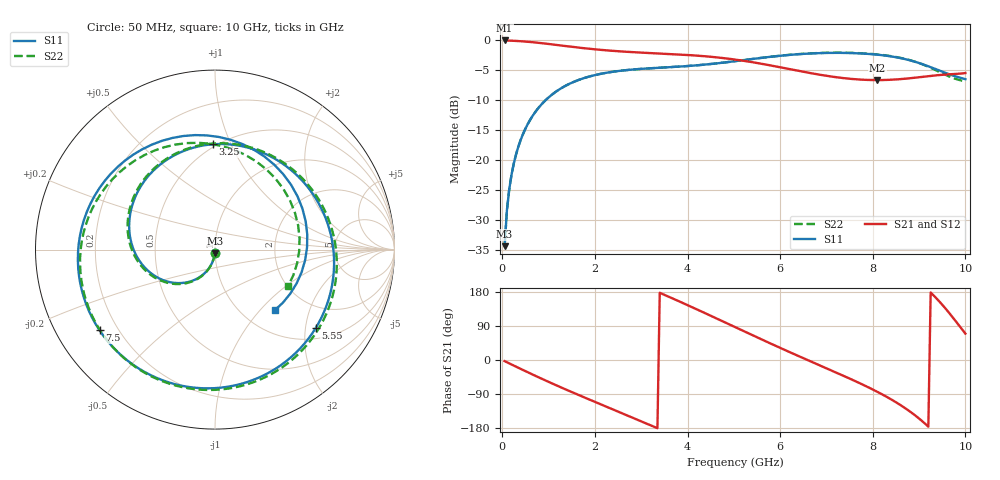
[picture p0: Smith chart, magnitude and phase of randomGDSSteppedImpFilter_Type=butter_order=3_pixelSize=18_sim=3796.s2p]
! freq	dB(S11)	phase(S11)	dB(S12)	phase(S12)
!  dB(S21)	phase(S21)	dB(S22)	phase(S22)
!S-par simulation data
#  GHz  S  DB  R 50
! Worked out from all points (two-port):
!   200 points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, 50 MHz to 10 GHz, reference 50 ohm
!   highest |S21| = 0.00 dB at 50 MHz (marker M1); lowest = -6.6 dB at 8.1 GHz (marker M2)
!   |S21| within 3 dB of the highest: start of sweep to 4.833 GHz
!   lowest |S11| = -34.4 dB at 50 MHz (marker M3), VSWR 1.04, Z = 49.9 - j1.9 ohm
!   |S11| at or under -10 dB: start of sweep to 933 MHz
!   |S22| runs from -34.4 to -2.0 dB; largest |S21 - S12| = 0
!   S11 on the Smith chart (normalised r, x): 50 MHz: 1.00, -0.04; 3.25 GHz: 0.48, +0.86; 5.55 GHz: 1.28, -2.27; 7.5 GHz: 0.13, -0.31; 10 GHz: 1.38, -1.21
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0.05  -34.38 -93.0  -0.00 -3.0  -0.00 -3.0  -34.38 -92.9
0.1  -28.38 -96.2  -0.02 -6.0  -0.02 -6.0  -28.38 -96.0
0.2  -22.41 -102.4  -0.05 -11.9  -0.05 -11.9  -22.41 -102.1
0.5  -14.74 -120.5  -0.19 -29.5  -0.19 -29.5  -14.74 -119.6
1.1  -8.89 -154.8  -0.68 -63.2  -0.68 -63.2  -8.89 -152.8
1.75  -6.33 170.0  -1.29 -97.6  -1.29 -97.6  -6.33 173.5
2.55  -5.07 128.2  -1.83 -138.4  -1.83 -138.4  -5.07 133.7
3.25  -4.63 91.1  -2.13 -174.7  -2.13 -174.7  -4.63 98.6
3.4  -4.56 82.9  -2.19 177.4  -2.19 177.4  -4.56 90.9
3.85  -4.36 58.1  -2.36 153.1  -2.36 153.1  -4.36 67.3
4.3  -4.09 32.8  -2.59 128.1  -2.59 128.1  -4.09 42.9
5.05  -3.45 -9.8  -3.22 85.5  -3.22 85.5  -3.44 1.0
5.55  -2.96 -38.1  -3.83 57.1  -3.83 57.1  -2.95 -27.2
6.15  -2.45 -71.2  -4.71 23.8  -4.71 23.8  -2.44 -60.3
6.7  -2.17 -101.0  -5.52 -5.9  -5.52 -5.9  -2.14 -89.8
7.5  -2.10 -145.1  -6.40 -48.9  -6.40 -48.9  -2.07 -132.4
8.1  -2.38 177.8  -6.63 -84.1  -6.63 -84.1  -2.34 -167.2
8.35  -2.62 159.9  -6.59 -100.6  -6.59 -100.6  -2.57 176.4
8.85  -3.42 116.0  -6.28 -140.2  -6.28 -140.2  -3.40 136.4
9.25  -4.47 69.0  -5.93 178.2  -5.93 178.2  -4.58 92.7
9.65  -5.66 9.5  -5.66 124.1  -5.66 124.1  -6.03 33.3
10  -6.48 -45.5  -5.45 69.6  -5.45 69.6  -6.84 -26.6
